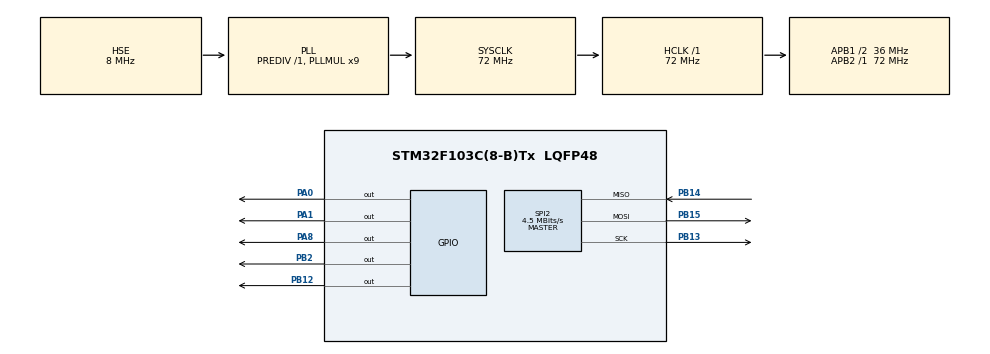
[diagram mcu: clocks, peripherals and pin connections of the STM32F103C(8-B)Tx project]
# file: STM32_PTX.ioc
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Mcu.Family=STM32F1
Mcu.Name=STM32F103C(8-B)Tx
Mcu.Package=LQFP48
NVIC.PriorityGroup=NVIC_PRIORITYGROUP_4
PA0-WKUP.Signal=GPIO_Output
PA1.Signal=GPIO_Output
PA13.Mode=Serial_Wire
PA13.Signal=SYS_JTMS-SWDIO
PA14.Mode=Serial_Wire
PA14.Signal=SYS_JTCK-SWCLK
PA8.Signal=GPIO_Output
PB12.Signal=GPIO_Output
PB13.Mode=Full_Duplex_Master
PB13.Signal=SPI2_SCK
PB14.Mode=Full_Duplex_Master
PB14.Signal=SPI2_MISO
PB15.Mode=Full_Duplex_Master
PB15.Signal=SPI2_MOSI
PB2.Signal=GPIO_Output
PD0-OSC_IN.Mode=HSE-External-Oscillator
PD0-OSC_IN.Signal=RCC_OSC_IN
PD1-OSC_OUT.Mode=HSE-External-Oscillator
PD1-OSC_OUT.Signal=RCC_OSC_OUT
ProjectManager.HeapSize=0x200
ProjectManager.StackSize=0x400
ProjectManager.TargetToolchain=MDK-ARM V5.32
RCC.AHBFreq_Value=72000000
RCC.APB1CLKDivider=RCC_HCLK_DIV2
RCC.APB1Freq_Value=36000000
RCC.APB1TimFreq_Value=72000000
RCC.APB2Freq_Value=72000000
RCC.APB2TimFreq_Value=72000000
RCC.HCLKFreq_Value=72000000
RCC.PLLMUL=RCC_PLL_MUL9
RCC.PLLSourceVirtual=RCC_PLLSOURCE_HSE
RCC.SYSCLKFreq_VALUE=72000000
RCC.SYSCLKSource=RCC_SYSCLKSOURCE_PLLCLK
RCC.USBFreq_Value=72000000
SPI2.BaudRatePrescaler=SPI_BAUDRATEPRESCALER_8
SPI2.CalculateBaudRate=4.5 MBits/s
SPI2.Direction=SPI_DIRECTION_2LINES
SPI2.Mode=SPI_MODE_MASTER
SPI2.VirtualType=VM_MASTER
board=custom

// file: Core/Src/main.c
/* USER CODE BEGIN Header */
/**
  ******************************************************************************
  * @file           : main.c
  * @brief          : Main program body
  ******************************************************************************
  * @attention
  *
  * Copyright (c) 2025 STMicroelectronics.
  * All rights reserved.
  *
  * This software is licensed under terms that can be found in the LICENSE file
  * in the root directory of this software component.
  * If no LICENSE file comes with this software, it is provided AS-IS.
  *
  ******************************************************************************
  */
/* USER CODE END Header */
#include "main.h"

/* USER CODE BEGIN Includes */
#include "nrf.h"
#include <string.h>
/* USER CODE END Includes */

SPI_HandleTypeDef hspi2;

/* USER CODE BEGIN PV */
uint8_t RxAddress[] = {0xEE,0xDD,0xCC,0xBB,0xAA};
uint8_t RxData[32];
uint8_t Data_UP[] = "FORWARD";
uint8_t Data_DOWN[] = "BACKWARD";
uint8_t Data_Toggle[] = "Toggle";
/* USER CODE END PV */

void SystemClock_Config(void);
static void MX_GPIO_Init(void);
static void MX_SPI2_Init(void);

int main(void)
{

  /* MCU Configuration--------------------------------------------------------*/

  /* Reset of all peripherals, Initializes the Flash interface and the Systick. */
  HAL_Init();

  /* Configure the system clock */
  SystemClock_Config();

  /* Initialize all configured peripherals */
  MX_GPIO_Init();
  MX_SPI2_Init();
  /* USER CODE BEGIN 2 */
	NRF_Init();

  NRF_PRX_Begin(RxAddress, 100);
  /* USER CODE END 2 */

  /* Infinite loop */
  /* USER CODE BEGIN WHILE */
  while (1)
  {
		//HAL_GPIO_TogglePin(GPIOB, GPIO_PIN_2);
		if(NRF_isData(0)==1){
			NRF_Receive(RxData);
			if(strcmp((const char*)RxData, (const char*)Data_UP) == 0){
				HAL_GPIO_WritePin(GPIOA, GPIO_PIN_0,1);
				HAL_Delay(100);
			}
			if(strcmp((const char*)RxData, (const char*)Data_DOWN) == 0){
				HAL_GPIO_WritePin(GPIOA, GPIO_PIN_1,1);
				HAL_Delay(100);
			}
			if(strcmp((const char*)RxData, (const char*)Data_Toggle) == 0){
				HAL_GPIO_TogglePin(GPIOB, GPIO_PIN_2);
			}
		}
		HAL_GPIO_WritePin(GPIOA, GPIO_PIN_0,0);
		HAL_GPIO_WritePin(GPIOA, GPIO_PIN_1,0);
    /* USER CODE END WHILE */

  }
}

void SystemClock_Config(void)
{
  RCC_OscInitTypeDef RCC_OscInitStruct = {0};
  RCC_ClkInitTypeDef RCC_ClkInitStruct = {0};

  /** Initializes the RCC Oscillators according to the specified parameters
  * in the RCC_OscInitTypeDef structure.
  */
  RCC_OscInitStruct.OscillatorType = RCC_OSCILLATORTYPE_HSE;
  RCC_OscInitStruct.HSEState = RCC_HSE_ON;
  RCC_OscInitStruct.HSEPredivValue = RCC_HSE_PREDIV_DIV1;
  RCC_OscInitStruct.HSIState = RCC_HSI_ON;
  RCC_OscInitStruct.PLL.PLLState = RCC_PLL_ON;
  RCC_OscInitStruct.PLL.PLLSource = RCC_PLLSOURCE_HSE;
  RCC_OscInitStruct.PLL.PLLMUL = RCC_PLL_MUL9;
  if (HAL_RCC_OscConfig(&RCC_OscInitStruct) != HAL_OK)
  {
    Error_Handler();
  }

  /** Initializes the CPU, AHB and APB buses clocks
  */
  RCC_ClkInitStruct.ClockType = RCC_CLOCKTYPE_HCLK|RCC_CLOCKTYPE_SYSCLK
                              |RCC_CLOCKTYPE_PCLK1|RCC_CLOCKTYPE_PCLK2;
  RCC_ClkInitStruct.SYSCLKSource = RCC_SYSCLKSOURCE_PLLCLK;
  RCC_ClkInitStruct.AHBCLKDivider = RCC_SYSCLK_DIV1;
  RCC_ClkInitStruct.APB1CLKDivider = RCC_HCLK_DIV2;
  RCC_ClkInitStruct.APB2CLKDivider = RCC_HCLK_DIV1;

  if (HAL_RCC_ClockConfig(&RCC_ClkInitStruct, FLASH_LATENCY_2) != HAL_OK)
  {
    Error_Handler();
  }
}

static void MX_SPI2_Init(void)
{

  /* SPI2 parameter configuration*/
  hspi2.Instance = SPI2;
  hspi2.Init.Mode = SPI_MODE_MASTER;
  hspi2.Init.Direction = SPI_DIRECTION_2LINES;
  hspi2.Init.DataSize = SPI_DATASIZE_8BIT;
  hspi2.Init.CLKPolarity = SPI_POLARITY_LOW;
  hspi2.Init.CLKPhase = SPI_PHASE_1EDGE;
  hspi2.Init.NSS = SPI_NSS_SOFT;
  hspi2.Init.BaudRatePrescaler = SPI_BAUDRATEPRESCALER_8;
  hspi2.Init.FirstBit = SPI_FIRSTBIT_MSB;
  hspi2.Init.TIMode = SPI_TIMODE_DISABLE;
  hspi2.Init.CRCCalculation = SPI_CRCCALCULATION_DISABLE;
  hspi2.Init.CRCPolynomial = 10;
  if (HAL_SPI_Init(&hspi2) != HAL_OK)
  {
    Error_Handler();
  }

}

static void MX_GPIO_Init(void)
{
  GPIO_InitTypeDef GPIO_InitStruct = {0};

  /* GPIO Ports Clock Enable */
  __HAL_RCC_GPIOD_CLK_ENABLE();
  __HAL_RCC_GPIOA_CLK_ENABLE();
  __HAL_RCC_GPIOB_CLK_ENABLE();

  /*Configure GPIO pin Output Level */
  HAL_GPIO_WritePin(GPIOA, GPIO_PIN_0|GPIO_PIN_1|GPIO_PIN_8, GPIO_PIN_RESET);

  /*Configure GPIO pin Output Level */
  HAL_GPIO_WritePin(GPIOB, GPIO_PIN_2|GPIO_PIN_12, GPIO_PIN_RESET);

  /*Configure GPIO pins : PA0 PA1 PA8 */
  GPIO_InitStruct.Pin = GPIO_PIN_0|GPIO_PIN_1|GPIO_PIN_8;
  GPIO_InitStruct.Mode = GPIO_MODE_OUTPUT_PP;
  GPIO_InitStruct.Pull = GPIO_NOPULL;
  GPIO_InitStruct.Speed = GPIO_SPEED_FREQ_LOW;
  HAL_GPIO_Init(GPIOA, &GPIO_InitStruct);

  /*Configure GPIO pins : PB2 PB12 */
  GPIO_InitStruct.Pin = GPIO_PIN_2|GPIO_PIN_12;
  GPIO_InitStruct.Mode = GPIO_MODE_OUTPUT_PP;
  GPIO_InitStruct.Pull = GPIO_NOPULL;
  GPIO_InitStruct.Speed = GPIO_SPEED_FREQ_LOW;
  HAL_GPIO_Init(GPIOB, &GPIO_InitStruct);

}

void Error_Handler(void)
{
  __disable_irq();
  while (1)
  {
  }
}
